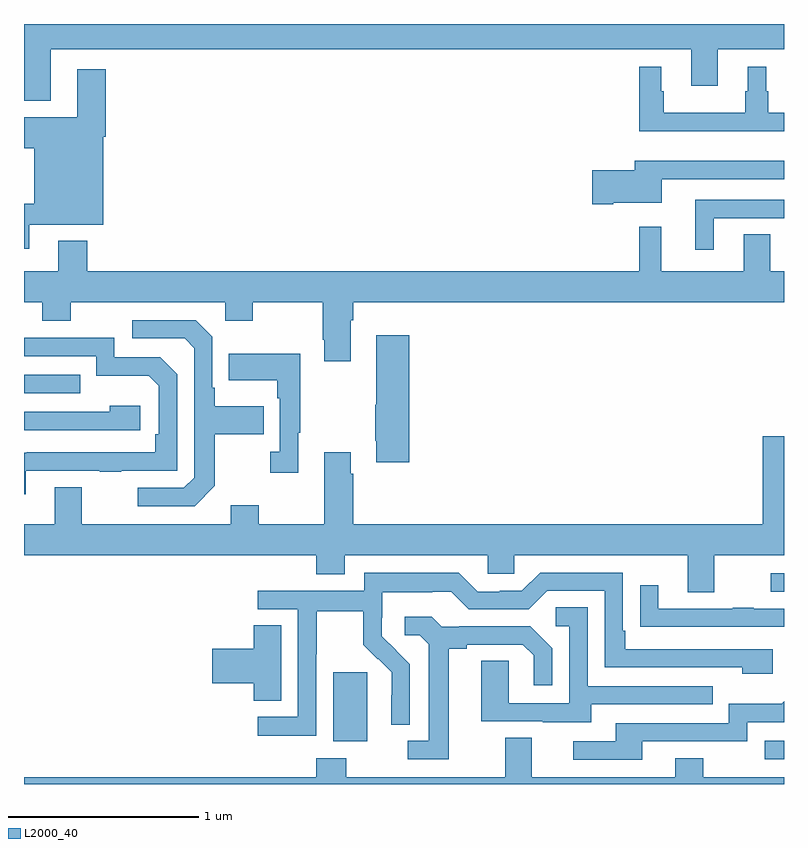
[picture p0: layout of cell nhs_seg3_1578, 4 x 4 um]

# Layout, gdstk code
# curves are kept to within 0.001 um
import gdstk
lib = gdstk.Library(unit=1e-6, precision=1e-09)
def R(c, l, rs):  # rectangles x0, y0, x1, y1
    for r in rs: c.add(gdstk.rectangle(r[:2], r[2:], *l))
def P(c, l, *ps):  # polygons
    for p in ps: c.add(gdstk.Polygon(p, *l))
L2000_40 = (2000, 40)

nhs_seg3_1578 = lib.new_cell('nhs_seg3_1578')
R(nhs_seg3_1578, L2000_40, [(196.899,678.531,197,678.627), (194.627,678.626,194.806,678.987), (196.929,679.413,197,679.509), (193,680.457,193.295,680.553)])
P(nhs_seg3_1578, L2000_40, [(193.141,682.268),(196.511,682.268),(196.511,682.074),(196.651,682.074),(196.651,682.268),(197,682.268),(197,682.4),(193,682.4),(193,682.268),(193.001,682.268),(193.001,681.995),(193.141,681.995)],
  [(197,681.934),(196.918,681.934),(196.918,682.046),(196.906,682.046),(196.906,682.174),(196.808,682.174),(196.808,682.046),(196.797,682.046),(196.797,681.934),(196.366,681.934),(196.366,682.046),(196.354,682.046),(196.354,682.174),(196.237,682.174),(196.237,681.836),(197,681.836)],
  [(193.027,681.344),(193.417,681.344),(193.417,681.806),(193.43,681.806),(193.43,682.162),(193.28,682.162),(193.28,681.91),(193,681.91),(193,681.746),(193.055,681.746),(193.055,681.454),(193,681.454),(193,681.216),(193.027,681.216)],
  [(196.102,681.458),(196.357,681.458),(196.357,681.582),(197,681.582),(197,681.679),(196.214,681.679),(196.214,681.629),(195.99,681.629),(195.99,681.451),(196.102,681.451)],
  [(196.63,681.378),(197,681.378),(197,681.474),(196.532,681.474),(196.532,681.213),(196.63,681.213)],
  [(194.719,680.84),(194.732,680.84),(194.732,680.936),(197,680.936),(197,681.1),(196.927,681.1),(196.927,681.293),(196.787,681.293),(196.787,681.1),(196.355,681.1),(196.355,681.334),(196.237,681.334),(196.237,681.1),(193.334,681.1),(193.334,681.259),(193.181,681.259),(193.181,681.1),(193,681.1),(193,680.936),(193.097,680.936),(193.097,680.837),(193.245,680.837),(193.245,680.936),(194.058,680.936),(194.058,680.837),(194.205,680.837),(194.205,680.936),(194.572,680.936),(194.572,680.737),(194.579,680.737),(194.579,680.625),(194.719,680.625)],
  [(194.005,679.969),(194.005,680.242),(194.261,680.242),(194.261,680.389),(194.005,680.389),(194.005,680.485),(193.992,680.485),(193.992,680.754),(193.905,680.841),(193.569,680.841),(193.569,680.745),(193.845,680.745),(193.896,680.694),(193.896,680.013),(193.842,679.959),(193.599,679.959),(193.599,679.863),(193.899,679.863)],
  [(195.028,680.761),(194.855,680.761),(194.855,680.395),(194.848,680.395),(194.848,680.206),(194.855,680.206),(194.855,680.094),(195.028,680.094)],
  [(193.009,680.049),(193.399,680.049),(193.399,680.044),(193.511,680.044),(193.511,680.049),(193.806,680.049),(193.806,680.556),(193.716,680.646),(193.476,680.646),(193.476,680.748),(193,680.748),(193,680.652),(193.38,680.652),(193.38,680.549),(193.657,680.549),(193.71,680.496),(193.71,680.242),(193.69,680.242),(193.69,680.145),(193,680.144),(193,679.926),(193.009,679.926)],
  [(194.443,680.249),(194.455,680.249),(194.455,680.665),(194.077,680.665),(194.077,680.525),(194.334,680.525),(194.334,680.429),(194.346,680.429),(194.346,680.15),(194.295,680.15),(194.295,680.037),(194.443,680.037)],
  [(193.612,680.392),(193.451,680.392),(193.451,680.358),(193,680.358),(193,680.262),(193.612,680.262)],
  [(196.633,679.604),(197,679.604),(197,680.23),(196.889,680.23),(196.889,679.768),(194.732,679.768),(194.732,680.033),(194.719,680.033),(194.719,680.146),(194.579,680.146),(194.579,679.768),(194.235,679.768),(194.235,679.867),(194.087,679.867),(194.087,679.768),(193.303,679.768),(193.303,679.963),(193.163,679.963),(193.163,679.768),(193,679.768),(193,679.604),(194.537,679.604),(194.537,679.505),(194.689,679.505),(194.689,679.604),(195.441,679.604),(195.441,679.506),(195.579,679.506),(195.579,679.604),(196.493,679.604),(196.493,679.41),(196.633,679.41)],
  [(194.538,679.084),(194.541,679.084),(194.541,679.308),(194.785,679.308),(194.785,679.133),(194.862,679.056),(194.865,679.059),(194.936,678.989),(194.936,678.866),(194.934,678.866),(194.934,678.712),(195.03,678.712),(195.03,679.03),(194.884,679.178),(194.884,679.275),(194.886,679.275),(194.886,679.409),(195.149,679.409),(195.149,679.413),(195.249,679.413),(195.342,679.32),(195.657,679.32),(195.753,679.416),(196.056,679.416),(196.056,679.014),(196.781,679.014),(196.781,678.98),(196.942,678.98),(196.942,679.11),(196.165,679.11),(196.165,679.207),(196.152,679.207),(196.152,679.512),(195.717,679.512),(195.621,679.416),(195.503,679.416),(195.503,679.413),(195.387,679.413),(195.287,679.513),(194.79,679.513),(194.79,679.416),(194.229,679.416),(194.229,679.32),(194.442,679.32),(194.442,678.753),(194.229,678.753),(194.229,678.655),(194.538,678.655)],
  [(197,679.323),(196.841,679.323),(196.841,679.328),(196.729,679.328),(196.729,679.323),(196.339,679.323),(196.339,679.447),(196.243,679.447),(196.243,679.228),(196.345,679.228),(196.345,679.227),(197,679.227)],
  [(195.985,678.819),(196.625,678.819),(196.625,678.915),(195.966,678.915),(195.966,679.331),(195.798,679.331),(195.798,679.23),(195.87,679.23),(195.87,678.825),(195.552,678.825),(195.552,679.049),(195.407,679.049),(195.407,678.729),(195.731,678.729),(195.731,678.725),(195.985,678.725)],
  [(195.235,679.112),(195.331,679.112),(195.331,679.134),(195.626,679.134),(195.683,679.077),(195.683,678.921),(195.78,678.921),(195.78,679.114),(195.664,679.23),(195.292,679.23),(195.292,679.227),(195.198,679.227),(195.146,679.279),(195.003,679.279),(195.003,679.182),(195.084,679.182),(195.131,679.135),(195.131,678.627),(195.021,678.627),(195.021,678.531),(195.235,678.531)],
  [(194.353,679.235),(194.21,679.235),(194.21,679.112),(193.992,679.112),(193.992,678.929),(194.21,678.929),(194.21,678.838),(194.353,678.838)],
  [(196.255,678.624),(196.806,678.624),(196.806,678.726),(197,678.726),(197,678.836),(196.987,678.823),(196.71,678.823),(196.71,678.72),(196.115,678.72),(196.115,678.624),(195.891,678.624),(195.891,678.528),(196.255,678.528)],
  [(197,678.436),(196.575,678.436),(196.575,678.535),(196.427,678.535),(196.427,678.436),(195.673,678.436),(195.673,678.644),(195.533,678.644),(195.533,678.436),(194.697,678.436),(194.697,678.535),(194.537,678.535),(194.537,678.436),(193,678.436),(193,678.4),(197,678.4)])

lib.write_gds('nhs_seg3_1578.gds')
